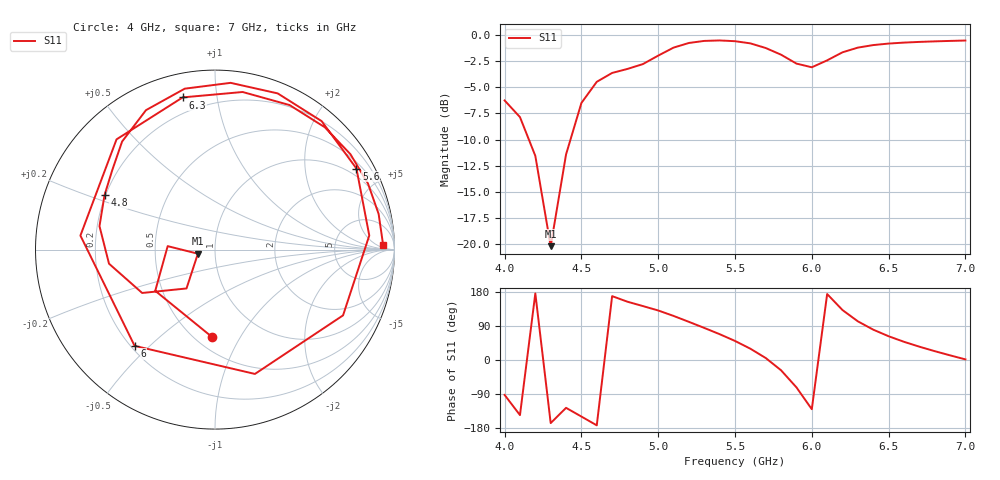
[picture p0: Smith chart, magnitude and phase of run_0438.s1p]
! Touchstone file exported from HFSS 2024.2.0
!  File:  C:/Users/wsak9/Desktop/Sim Fast/Widenad Patch/WP_AI_V1_sweep.aedt
!  Generated:  10:00:27 AM Oct 14, 2026
!  Design:  A1_model
!  Project:  WP_AI_V1_sweep
!  Setup:  Setup1
!  Solution:  Sweep
! Variables:
!  Air_gap = 4.41mm
!  Curve_Amp1 = 3.41
!  Curve_len1 = 1
!  Curve_pos = 13.145mm
!  Extra = 7.65mm
!  H_sub = 0.79mm
!  L_Patch = 22.29mm
!  L_Patch1 = 16.04mm
!  Sx = 0.64mm
!  Sy = 0.33mm
!  WS = 0.72mm
!  W_Patch = 15.13mm
!  W_Patch1 = 8.39mm
!Data is not renormalized
# GHz S MA
! Terminal data exported
! Port[1] = 1
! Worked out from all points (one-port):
!   31 points, 4 GHz to 7 GHz, reference per port
!   lowest |S11| = -20.2 dB at 4.3 GHz (marker M1), VSWR 1.22
!   |S11| at or under -10 dB: 4.158 GHz to 4.429 GHz (271.2 MHz wide, 6.32 % of centre)
!   S11 on the Smith chart (normalised r, x): 4 GHz: 0.60, -0.76; 4.8 GHz: 0.20, +0.22; 5.6 GHz: 0.70, +3.63; 6 GHz: 0.21, -0.45; 6.3 GHz: 0.12, +0.80; 7 GHz: 26, +11
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4  0.4856 -92.2
4.1  0.4044 -145.4
4.2  0.2643 175.8
4.3  0.09815 -166.5
4.4  0.2684 -126.2
4.5  0.4723 -149.2
4.6  0.5957 -172.4
4.7  0.6566 168.5
4.8  0.6862 153.8
5  0.794 130.7
5.1  0.8669 116.3
5.2  0.9123 100.6
5.3  0.9331 84.7
5.4  0.9377 68.1
5.5  0.9302 50.3
5.6  0.9084 29.8
5.7  0.8632 5.2
5.8  0.802 -27.2
5.9  0.7276 -72.2
6  0.6987 -129.9
6.1  0.7539 174.1
6.2  0.8235 131.8
6.3  0.8669 102.0
6.4  0.8914 80.1
6.5  0.9062 62.7
6.7  0.9229 35.2
6.8  0.9284 23.4
7  0.937 1.7
